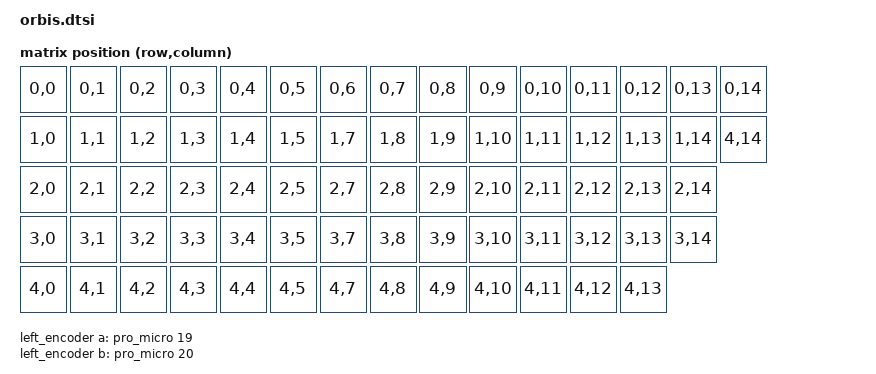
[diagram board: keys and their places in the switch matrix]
/*
 * Orbis —— 分体键盘共享设备树（由 hardware/plate/gen_firmware.py 生成，勿手改）
 *   左手（中央）：5 行 × 7 列，30 键 + 编码器按压在 (4,5)
 *   右手（外围）：5 行 × 8 列，40 键（第 1 行第 9 个键落在矩阵 (4,7)）
 *
 * 虚拟矩阵 = 5 行 × 15 列：左手 kscan 列 0..6 -> 虚拟列 0..6，
 * 右手 kscan 列 0..7 -> 虚拟列 7..14（见 orbis_right.overlay 的 col-offset）
 *
 * SPDX-License-Identifier: MIT
 */

#include <dt-bindings/zmk/matrix_transform.h>

/ {
    chosen {
        zmk,kscan = &kscan0;
        zmk,matrix-transform = &default_transform;
    };

    default_transform: keymap_transform_0 {
        compatible = "zmk,matrix-transform";
        columns = <15>;
        rows = <5>;
// 键位顺序（keymap 里 bindings 的顺序）：
//   第0组(15): Esc !/1 @/2 #/3 $/4 %/5 ^/6 &/7 */8 (/9 )/0 _/- +/= Backspace ~/`
//   第1组(15): Tab Q W E R T Y U I O P {/[ }/] |/\ PgUp
//   第2组(14): Caps Lock A S D F G H J K L :/; "/' Enter PgDn
//   第3组(14): Shift Z X C V B N M </, >/. ?// Shift PrtSc/↑ Insert/Del
//   第4组(13): Fn Ctrl Win Alt Space ENC Space Fn Ctrl Alt Home/← Pause/Break/↓ end/→
        map = <
RC(0,0) RC(0,1) RC(0,2) RC(0,3) RC(0,4) RC(0,5) RC(0,6) RC(0,7) RC(0,8) RC(0,9) RC(0,10) RC(0,11) RC(0,12) RC(0,13) RC(0,14)
RC(1,0) RC(1,1) RC(1,2) RC(1,3) RC(1,4) RC(1,5) RC(1,7) RC(1,8) RC(1,9) RC(1,10) RC(1,11) RC(1,12) RC(1,13) RC(1,14) RC(4,14)
RC(2,0) RC(2,1) RC(2,2) RC(2,3) RC(2,4) RC(2,5) RC(2,7) RC(2,8) RC(2,9) RC(2,10) RC(2,11) RC(2,12) RC(2,13) RC(2,14)
RC(3,0) RC(3,1) RC(3,2) RC(3,3) RC(3,4) RC(3,5) RC(3,7) RC(3,8) RC(3,9) RC(3,10) RC(3,11) RC(3,12) RC(3,13) RC(3,14)
RC(4,0) RC(4,1) RC(4,2) RC(4,3) RC(4,4) RC(4,5) RC(4,7) RC(4,8) RC(4,9) RC(4,10) RC(4,11) RC(4,12) RC(4,13)
        >;
    };

    /* 行/列脚都在各自 .overlay 里补 —— 左右手的行脚不同
     * （左手把 D2/D3 让给了 OLED 的 I2C，行脚是 D0,D1,D16,D21,D4） */
    kscan0: kscan {
        compatible = "zmk,kscan-gpio-matrix";
        wakeup-source;
        diode-direction = "col2row";
    };

    /* 左手 EC11 编码器（装在外壳上，经 J2 排线接入） */
    left_encoder: encoder_left {
        compatible = "alps,ec11";
        a-gpios = <&pro_micro 19 (GPIO_ACTIVE_HIGH | GPIO_PULL_UP)>;   /* D19  P0.02 */
        b-gpios = <&pro_micro 20 (GPIO_ACTIVE_HIGH | GPIO_PULL_UP)>;   /* D20  P0.29 */
        steps = <80>;
        status = "disabled";
    };

    sensors: sensors {
        compatible = "zmk,keymap-sensors";
        sensors = <&left_encoder>;
        triggers-per-rotation = <20>;
    };

    /* 右手轨迹球：外围侧定义设备，中央侧接收事件 */
    split_inputs {
        #address-cells = <1>;
        #size-cells = <0>;

        trackball_split: trackball_split@0 {
            compatible = "zmk,input-split";
            reg = <0>;
        };
    };

    trackball_listener: trackball_listener {
        compatible = "zmk,input-listener";
        status = "disabled";
        device = <&trackball_split>;
    };
};
